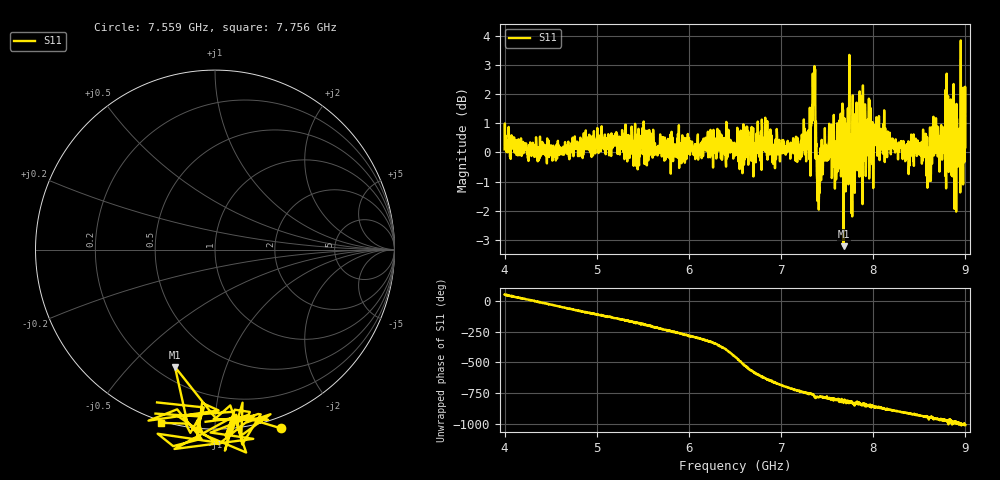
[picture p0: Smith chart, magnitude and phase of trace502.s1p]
! Created with skrf 1.8.0 (http://scikit-rf.org).
# Hz S RI R 50.0
!freq ReS11 ImS11
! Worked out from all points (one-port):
!   1601 points, 4 GHz to 9 GHz, reference 50 ohm
!   lowest |S11| = -3.2 dB at 7.678 GHz (marker M1), VSWR 5.46, Z = 13.6 - j34 ohm
!   |S11| at or under -10 dB: nowhere
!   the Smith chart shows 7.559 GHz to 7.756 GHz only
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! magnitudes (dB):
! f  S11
! 4 GHz  0.1
! 4.625 GHz  -0.1
! 5.25 GHz  -0.1
! 5.875 GHz  0.5
! 6.5 GHz  -0.1
! 7.125 GHz  0.3
! 7.294 GHz  0.1
! 7.347 GHz  1.6
! 7.366 GHz  1.7
! 7.397 GHz  -0.7
! 7.409 GHz  -2.0
! 7.45 GHz  -0.4
! 7.522 GHz  1.0
! 7.6 GHz  -0.7
! 7.65 GHz  -0.8
! 7.678 GHz  -3.2
! 7.734 GHz  -0.8
! 7.75 GHz  0.3
! 7.962 GHz  1.8
! 8.375 GHz  0.0
! 8.438 GHz  0.6
! 8.6 GHz  -0.5
! 8.656 GHz  0.5
! 8.766 GHz  0.6
! 8.819 GHz  -0.7
! 8.875 GHz  0.2
! 8.972 GHz  1.2
! 9 GHz  0.2
